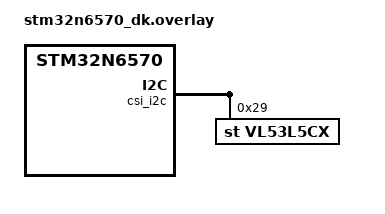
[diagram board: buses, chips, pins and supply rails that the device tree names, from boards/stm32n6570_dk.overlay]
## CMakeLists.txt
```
# SPDX-License-Identifier: Apache-2.0

cmake_minimum_required(VERSION 3.20.0)
find_package(Zephyr REQUIRED HINTS $ENV{ZEPHYR_BASE})
project(vl53l5cx_smart_presence_wakeup)

# Path to the ST VL53L5CX ULD driver
set(VL53L5CX_ULD_DIR ${CMAKE_CURRENT_SOURCE_DIR}/drivers/sensor/vl53l5cx/uld)
set(VL53L5CX_PLATFORM_DIR ${CMAKE_CURRENT_SOURCE_DIR}/drivers/sensor/vl53l5cx)

# Include headers: ULD API headers + our custom platform.h
target_include_directories(app PRIVATE
    ${VL53L5CX_ULD_DIR}/inc
    ${VL53L5CX_PLATFORM_DIR}
)

# Build ULD API source + plugins + platform adaptation + application
target_sources(app PRIVATE
    ${VL53L5CX_ULD_DIR}/src/vl53l5cx_api.c
    ${VL53L5CX_ULD_DIR}/src/vl53l5cx_plugin_motion_indicator.c
    ${VL53L5CX_PLATFORM_DIR}/platform.c
    src/main.c
)

# Reduce VL53L5CX compile warnings
if(CMAKE_C_COMPILER_ID STREQUAL "GNU")
  set_source_files_properties(
    ${VL53L5CX_ULD_DIR}/src/vl53l5cx_api.c
    PROPERTIES COMPILE_FLAGS "-Wno-unused-parameter"
  )
endif()
```

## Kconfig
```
# Video capture configuration for Smart Presence Wakeup
#
# Copyright (c) 2025
# SPDX-License-Identifier: Apache-2.0

mainmenu "VL53L5CX Smart Presence Wakeup"

menu "Video capture configuration"

config VIDEO_WIDTH
	int "Define the width of the video"
	default 320

config VIDEO_HEIGHT
	int "Define the height of the video"
	default 240

endmenu

source "Kconfig.zephyr"
```

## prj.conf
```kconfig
CONFIG_I2C=y

CONFIG_VIDEO=y
CONFIG_VIDEO_BUFFER_POOL_HEAP_SIZE=1600000

CONFIG_USE_STM32_MW_ISP=y

CONFIG_DISPLAY=y
CONFIG_LVGL=y
CONFIG_LV_USE_IMAGE=y
CONFIG_LV_USE_CANVAS=y
CONFIG_LV_USE_LABEL=y
CONFIG_LV_FONT_MONTSERRAT_16=y
CONFIG_LV_FONT_MONTSERRAT_20=y
CONFIG_LV_FONT_MONTSERRAT_24=y
CONFIG_LV_Z_MEM_POOL_SIZE=65536
CONFIG_LV_COLOR_DEPTH_32=y

CONFIG_MAIN_STACK_SIZE=8192
CONFIG_HEAP_MEM_POOL_SIZE=131072
CONFIG_SYSTEM_WORKQUEUE_STACK_SIZE=4096

CONFIG_LOG=y
CONFIG_LOG_MODE_DEFERRED=y
CONFIG_PRINTK=y

CONFIG_GPIO=y
CONFIG_GPIO_HOGS=y
```

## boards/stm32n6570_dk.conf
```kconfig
# Board-specific configuration for STM32N6570-DK
# Video output resolution matches the 800x480 LTDC display

CONFIG_VIDEO_WIDTH=800
CONFIG_VIDEO_HEIGHT=480
CONFIG_VIDEO_BUFFER_POOL_HEAP_SIZE=1600000
```

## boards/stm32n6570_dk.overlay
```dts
/*
 * Smart Presence Wakeup — Board Overlay
 *
 * Adds the VL53L5CX ToF sensor to the csi_i2c bus (I2C1).
 * The camera (IMX335) and CSI pipeline are provided by the
 * --shield st_b_cams_imx_mb1854 flag at build time.
 */

/* VL53L5CX on the same I2C bus as the camera (I2C1: PH9/PC1) */
&csi_i2c {
	vl53l5cx: vl53l5cx@29 {
		compatible = "st,vl53l5cx";
		reg = <0x29>;
		status = "okay";
	};
};
```

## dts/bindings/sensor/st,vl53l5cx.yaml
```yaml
# Copyright (c) 2024 STMicroelectronics
# SPDX-License-Identifier: Apache-2.0

description: STMicroelectronics VL53L5CX multizone Time-of-Flight sensor

compatible: "st,vl53l5cx"

include: [sensor-device.yaml, i2c-device.yaml]

properties:
  int-gpios:
    type: phandle-array
    description: |
      Optional interrupt (GPIO1) pin. Active LOW.
      Used for detection threshold interrupts.

  lpn-gpios:
    type: phandle-array
    description: |
      Optional Low Power enable pin. Active HIGH.
      Used to reset or power-cycle the sensor.
```

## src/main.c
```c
#include <zephyr/kernel.h>
#include <zephyr/device.h>
#include <zephyr/devicetree.h>
#include <zephyr/drivers/i2c.h>
#include <zephyr/drivers/display.h>
#include <zephyr/drivers/video.h>
#include <zephyr/drivers/video-controls.h>
#include <zephyr/logging/log.h>

#include <lvgl.h>
#include <stdio.h>

#include "vl53l5cx_api.h"
#include "vl53l5cx_plugin_motion_indicator.h"
#include "platform.h"

LOG_MODULE_REGISTER(smart_presence, LOG_LEVEL_INF);


#if !DT_HAS_CHOSEN(zephyr_camera)
#error "No camera chosen. Use: --shield st_b_cams_imx_mb1854"
#endif

#if !DT_HAS_CHOSEN(zephyr_display)
#error "No display chosen in devicetree."
#endif

#define VL53L5CX_NODE     DT_NODELABEL(vl53l5cx)
#define VL53L5CX_I2C_ADDR DT_REG_ADDR(VL53L5CX_NODE)
#define I2C_DEV           DEVICE_DT_GET(DT_BUS(VL53L5CX_NODE))

#define SCREEN_W       800
#define SCREEN_H       480
#define NUM_BUFFERS    2

#define MAX_PRESENCE_DISTANCE_MM  1500

#define MIN_ZONES_PRESENT         2

#define RANGING_FREQ_HZ           10

#define STANDING_FRAMES           15

#define LEAVE_TIMEOUT_MS          5000

#define TARGET_STATUS_VALID_5     5
#define TARGET_STATUS_VALID_9     9

#define MOTION_THRESHOLD          30

#define PRESENCE_DECAY            2

enum app_state {
	STATE_SLEEP, 
	STATE_ACTIVE,
};

static atomic_t g_presence_count   = ATOMIC_INIT(0);
static atomic_t g_last_presence_ms = ATOMIC_INIT(0);

static lv_obj_t *camera_canvas;
static lv_obj_t *overlay_panel;
static lv_obj_t *status_label;
static lv_obj_t *presence_label;

static lv_style_t style_overlay;
static lv_style_t style_text;

static void init_styles(void)
{
	lv_style_init(&style_overlay);
	lv_style_set_bg_color(&style_overlay, lv_color_make(0x00, 0x00, 0x00));
	lv_style_set_bg_opa(&style_overlay, LV_OPA_60);
	lv_style_set_radius(&style_overlay, 0);
	lv_style_set_pad_all(&style_overlay, 8);

	lv_style_init(&style_text);
	lv_style_set_text_font(&style_text, &lv_font_montserrat_16);
	lv_style_set_text_color(&style_text, lv_color_white());
}

static void build_ui(void)
{
	lv_obj_t *scr = lv_screen_active();

	camera_canvas = lv_canvas_create(scr);
	lv_obj_set_size(camera_canvas, SCREEN_W, SCREEN_H);
	lv_obj_set_pos(camera_canvas, 0, 0);

	overlay_panel = lv_obj_create(scr);
	lv_obj_remove_style_all(overlay_panel);
	lv_obj_add_style(overlay_panel, &style_overlay, 0);
	lv_obj_set_size(overlay_panel, SCREEN_W, 48);
	lv_obj_align(overlay_panel, LV_ALIGN_BOTTOM_MID, 0, 0);
	lv_obj_set_flex_flow(overlay_panel, LV_FLEX_FLOW_ROW);
	lv_obj_set_flex_align(overlay_panel, LV_FLEX_ALIGN_SPACE_BETWEEN,
			      LV_FLEX_ALIGN_CENTER, LV_FLEX_ALIGN_CENTER);

	status_label = lv_label_create(overlay_panel);
	lv_obj_add_style(status_label, &style_text, 0);
	lv_obj_set_style_text_font(status_label, &lv_font_montserrat_20, 0);
	lv_label_set_text(status_label, "SLEEP");
	lv_obj_set_style_text_color(status_label,
				    lv_color_make(0xFF, 0x99, 0x00), 0);

	presence_label = lv_label_create(overlay_panel);
	lv_obj_add_style(presence_label, &style_text, 0);
	lv_label_set_text(presence_label, "Presence: 0/15");
}

#define TOF_STACK_SIZE  8192
#define TOF_PRIORITY    5

K_THREAD_STACK_DEFINE(tof_stack, TOF_STACK_SIZE);
static struct k_thread tof_thread_data;

static VL53L5CX_Configuration tof_dev;
static VL53L5CX_Motion_Configuration motion_config;
static volatile bool tof_running;

static void tof_thread_entry(void *p1, void *p2, void *p3)
{
	ARG_UNUSED(p1);
	ARG_UNUSED(p2);
	ARG_UNUSED(p3);

	VL53L5CX_ResultsData results;
	uint8_t ready;
	int status;

	while (1) {
		if (!tof_running) {
			k_msleep(100);
			continue;
		}

		status = vl53l5cx_check_data_ready(&tof_dev, &ready);
		if (status != 0 || !ready) {
			k_msleep(5);
			continue;
		}

		status = vl53l5cx_get_ranging_data(&tof_dev, &results);
		if (status != 0) {
			k_msleep(5);
			continue;
		}

		int zones_present = 0;

		for (int z = 0; z < 16; z++) {
			int idx = z * VL53L5CX_NB_TARGET_PER_ZONE;
			uint8_t st = results.target_status[idx];
			uint32_t mot = results.motion_indicator
				       .motion[motion_config.map_id[z]];

			if (results.nb_target_detected[z] > 0 &&
			    results.distance_mm[idx] > 0 &&
			    results.distance_mm[idx] < MAX_PRESENCE_DISTANCE_MM &&
			    (st == TARGET_STATUS_VALID_5 ||
			     st == TARGET_STATUS_VALID_9) &&
			    mot >= MOTION_THRESHOLD) {
				zones_present++;
			}
		}

		if (zones_present >= MIN_ZONES_PRESENT) {
			atomic_val_t cur = atomic_get(&g_presence_count);

			if (cur < STANDING_FRAMES * 2) {
				atomic_inc(&g_presence_count);
			}
			atomic_set(&g_last_presence_ms,
				   (atomic_val_t)k_uptime_get());
		} else {
			atomic_val_t cur = atomic_get(&g_presence_count);

			if (cur > PRESENCE_DECAY) {
				atomic_sub(&g_presence_count, PRESENCE_DECAY);
			} else if (cur > 0) {
				atomic_set(&g_presence_count, 0);
			}
		}

		k_yield();
	}
}

int main(void)
{
	const struct device *display_dev;
	const struct device *video_dev;
	struct video_buffer *buffers[NUM_BUFFERS];
	struct video_buffer *vbuf = &(struct video_buffer){};
	struct video_format fmt;
	struct video_caps caps;
	struct video_selection sel;
	enum video_buf_type type = VIDEO_BUF_TYPE_OUTPUT;
	int err;

	LOG_INF("Smart Presence Wakeup");

	const struct device *i2c_dev = I2C_DEV;

	if (!device_is_ready(i2c_dev)) {
		LOG_ERR("I2C device not ready");
		return -ENODEV;
	}

	tof_dev.platform.address = VL53L5CX_I2C_ADDR << 1;
	tof_dev.platform.i2c_dev = i2c_dev;

	uint8_t alive = 0;

	err = vl53l5cx_is_alive(&tof_dev, &alive);
	if (err != 0 || !alive) {
		LOG_ERR("VL53L5CX not detected (status=%d alive=%u)", err, alive);
		return -ENODEV;
	}
	LOG_INF("VL53L5CX detected on I2C bus");

	LOG_INF("Loading VL53L5CX firmware (~95 KB, please wait)...");
	err = vl53l5cx_init(&tof_dev);
	if (err != 0) {
		LOG_ERR("VL53L5CX init failed: %d", err);
		return -EIO;
	}
	LOG_INF("VL53L5CX firmware loaded successfully");

	vl53l5cx_set_resolution(&tof_dev, VL53L5CX_RESOLUTION_4X4);
	vl53l5cx_set_ranging_frequency_hz(&tof_dev, RANGING_FREQ_HZ);

	err = vl53l5cx_motion_indicator_init(&tof_dev, &motion_config,
						 VL53L5CX_RESOLUTION_4X4);
	if (err != 0) {
		LOG_ERR("Motion indicator init failed: %d", err);
		return -EIO;
	}
	err = vl53l5cx_motion_indicator_set_distance_motion(
		&tof_dev, &motion_config, 400, MAX_PRESENCE_DISTANCE_MM);
	if (err != 0) {
		LOG_ERR("Motion indicator set distance failed: %d", err);
		return -EIO;
	}
	LOG_INF("Motion indicator configured (400-%d mm)",
		MAX_PRESENCE_DISTANCE_MM);

	vl53l5cx_start_ranging(&tof_dev);
	tof_running = true;
	LOG_INF("VL53L5CX ranging started — 4x4 @ %d Hz", RANGING_FREQ_HZ);

	k_thread_create(&tof_thread_data, tof_stack,
			K_THREAD_STACK_SIZEOF(tof_stack),
			tof_thread_entry, NULL, NULL, NULL,
			TOF_PRIORITY, 0, K_NO_WAIT);
	k_thread_name_set(&tof_thread_data, "tof_ranging");

	display_dev = DEVICE_DT_GET(DT_CHOSEN(zephyr_display));
	if (!device_is_ready(display_dev)) {
		LOG_ERR("Display device not ready");
		return -ENODEV;
	}

	video_dev = DEVICE_DT_GET(DT_CHOSEN(zephyr_camera));
	if (!device_is_ready(video_dev)) {
		LOG_ERR("Camera device not ready: %s", video_dev->name);
		return -ENODEV;
	}

	LOG_INF("Camera device: %s", video_dev->name);

	caps.type = type;
	err = video_get_caps(video_dev, &caps);
	if (err) {
		LOG_ERR("Unable to retrieve video capabilities");
		return -EIO;
	}

	for (int i = 0; caps.format_caps[i].pixelformat; i++) {
		const struct video_format_cap *fcap = &caps.format_caps[i];

		LOG_INF("  Cap: %c%c%c%c  w[%u-%u] h[%u-%u]",
			(char)fcap->pixelformat,
			(char)(fcap->pixelformat >> 8),
			(char)(fcap->pixelformat >> 16),
			(char)(fcap->pixelformat >> 24),
			fcap->width_min, fcap->width_max,
			fcap->height_min, fcap->height_max);
	}

	fmt.type = type;
	err = video_get_format(video_dev, &fmt);
	if (err) {
		LOG_ERR("Unable to retrieve video format");
		return -EIO;
	}

	fmt.width  = CONFIG_VIDEO_WIDTH;
	fmt.height = CONFIG_VIDEO_HEIGHT;
	fmt.pixelformat = VIDEO_PIX_FMT_RGB565;

	sel.type = type;
	sel.target = VIDEO_SEL_TGT_CROP;
	err = video_get_selection(video_dev, &sel);
	if (err == 0 &&
	    (sel.rect.width != fmt.width || sel.rect.height != fmt.height)) {
		sel.target = VIDEO_SEL_TGT_COMPOSE;
		sel.rect.left   = 0;
		sel.rect.top    = 0;
		sel.rect.width  = fmt.width;
		sel.rect.height = fmt.height;
		err = video_set_selection(video_dev, &sel);
		if (err && err != -ENOSYS) {
			LOG_WRN("Unable to set compose selection (%d)", err);
		}
	}

	err = video_set_format(video_dev, &fmt);
	if (err) {
		LOG_ERR("Unable to set video format");
		return -EIO;
	}

	LOG_INF("Video format: %c%c%c%c %ux%u pitch=%u",
		(char)fmt.pixelformat,
		(char)(fmt.pixelformat >> 8),
		(char)(fmt.pixelformat >> 16),
		(char)(fmt.pixelformat >> 24),
		fmt.width, fmt.height, fmt.pitch);

	for (int i = 0; i < NUM_BUFFERS; i++) {
		buffers[i] = video_buffer_aligned_alloc(fmt.size,
							CONFIG_VIDEO_BUFFER_POOL_ALIGN,
							K_NO_WAIT);
		if (buffers[i] == NULL) {
			LOG_ERR("Unable to allocate video buffer %d", i);
			return -ENOMEM;
		}
		buffers[i]->type = type;
		video_enqueue(video_dev, buffers[i]);
	}

	err = video_stream_start(video_dev, type);
	if (err) {
		LOG_ERR("Unable to start video capture (%d)", err);
		return -EIO;
	}

	LOG_INF("Video capture started (ISP processing active)");

	init_styles();
	build_ui();

	display_blanking_on(display_dev);
	LOG_INF("Display blanked — entering sleep mode");

	enum app_state state = STATE_SLEEP;

	vbuf->type = type;

	while (1) {
		int32_t count = atomic_get(&g_presence_count);
		int64_t now   = k_uptime_get();
		int64_t last  = (int64_t)atomic_get(&g_last_presence_ms);

		err = video_dequeue(video_dev, &vbuf, K_MSEC(200));

		if (err == 0 && vbuf != NULL) {
			if (state == STATE_ACTIVE) {
				lv_canvas_set_buffer(camera_canvas,
						     vbuf->buffer,
						     fmt.width, fmt.height,
						     LV_COLOR_FORMAT_RGB565);
			}

			lv_timer_handler();

			video_enqueue(video_dev, vbuf);
		} else {
			lv_timer_handler();
			k_sleep(K_MSEC(10));
		}

		char buf[48];

		snprintf(buf, sizeof(buf), "Presence: %d/%d", count,
			 STANDING_FRAMES);
		lv_label_set_text(presence_label, buf);

		switch (state) {

		case STATE_SLEEP:
			if (count >= STANDING_FRAMES) {
				LOG_INF(">> Person STANDING detected "
					"(count=%d) — waking display", count);
				display_blanking_off(display_dev);
				lv_label_set_text(status_label, "LIVE");
				lv_obj_set_style_text_color(
					status_label,
					lv_color_make(0x00, 0xE6, 0x76), 0);
				state = STATE_ACTIVE;
			} else if (count > 0 && (count % 5) == 0) {
				LOG_INF("   detecting... %d/%d frames",
					count, STANDING_FRAMES);
			}
			break;

		case STATE_ACTIVE:
			if (count == 0 && (now - last) > LEAVE_TIMEOUT_MS) {
				LOG_INF("<< Person LEFT (absent %lld ms) "
					"— blanking display",
					now - last);
				display_blanking_on(display_dev);
				lv_label_set_text(status_label, "SLEEP");
				lv_obj_set_style_text_color(
					status_label,
					lv_color_make(0xFF, 0x99, 0x00), 0);
				state = STATE_SLEEP;
			}
			break;
		}
	}
}
```
